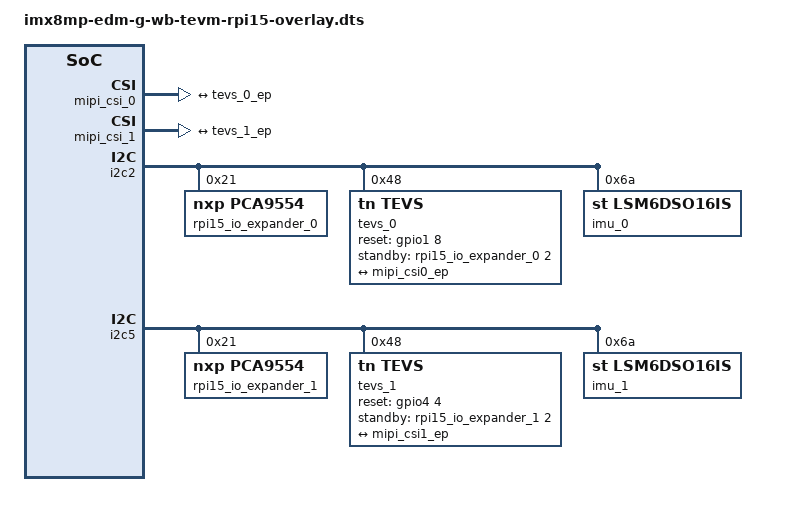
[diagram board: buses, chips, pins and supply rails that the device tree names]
// SPDX-License-Identifier: (GPL-2.0+ OR MIT)
/*
 * Copyright 2026 TechNexion Ltd.
 *
 * Author: Nian Yang <nian.yang@technexion.com>
 *
 */

/dts-v1/;
/plugin/;

#include <dt-bindings/interrupt-controller/irq.h>
#include <dt-bindings/clock/imx8mp-clock.h>
#include <dt-bindings/gpio/gpio.h>

/ {
	fragment@0 {
		target = <&mipi_csi_0>;
		__overlay__ {
			#address-cells = <1>;
			#size-cells = <0>;
			status = "okay";

			port@0 {
				reg = <0>;
				mipi_csi0_ep: endpoint {
					remote-endpoint = <&tevs_0_ep>;
					data-lanes = <2>;
					csis-hs-settle = <19>;
					csis-clk-settle = <2>;
					csis-wclk;
				};
			};
		};
	};

	fragment@1 {
		target = <&mipi_csi_1>;
		__overlay__ {
			#address-cells = <1>;
			#size-cells = <0>;
			status = "okay";

			port@1 {
				reg = <1>;
				mipi_csi1_ep: endpoint {
					remote-endpoint = <&tevs_1_ep>;
					data-lanes = <2>;
					csis-hs-settle = <19>;
					csis-clk-settle = <2>;
					csis-wclk;
				};
			};
		};
	};

	fragment@2 {
		target = <&i2c2>;
		__overlay__ {
			#address-cells = <1>;
			#size-cells = <0>;

			/delete-node/pca9555_a21;

			rpi15_io_expander_0: pca9554@21 {
				compatible = "nxp,pca9554";
				reg = <0x21>;
				gpio-controller;
				#gpio-cells = <2>;
				gpio-line-names = "EXPOSURE_TRIG_IN",
								  "FLASH_OUT",
								  "STANDBY",
								  "SHUTTER",
								  "FRAME_SYNC",
								  "PWR_TIME0",
								  "PWR_TIME1",
								  "PWR_TIME2";
				status = "okay";
			};

			tevs_0: tevs@48 {
				compatible = "tn,tevs";
				reg = <0x48>;
				status = "okay";

				pinctrl-names = "default";
				pinctrl-0 = <&pinctrl_csi0_pwn>, <&pinctrl_csi0_rst>;
				reset-gpios = <&gpio1 8 GPIO_ACTIVE_HIGH>;
				standby-gpios = <&rpi15_io_expander_0 2 GPIO_ACTIVE_HIGH>;

				port {
					tevs_0_ep: endpoint {
						remote-endpoint = <&mipi_csi0_ep>;
						data-lanes = <1 2>;
						clock-lanes = <0>;
						clock-noncontinuous;
						link-frequencies = /bits/ 64 <400000000>;
					};
				};
			};

			imu_0: lsm6dsm@6a {
				compatible = "st,lsm6dso16is";
				reg = <0x6a>;
			};
		};
	};

	fragment@3 {
		target = <&i2c5>;
		__overlay__ {
			#address-cells = <1>;
			#size-cells = <0>;

			rpi15_io_expander_1: pca9554@21 {
				compatible = "nxp,pca9554";
				reg = <0x21>;
				gpio-controller;
				#gpio-cells = <2>;
				gpio-line-names = "EXPOSURE_TRIG_IN",
								  "FLASH_OUT",
								  "STANDBY",
								  "SHUTTER",
								  "FRAME_SYNC",
								  "PWR_TIME0",
								  "PWR_TIME1",
								  "PWR_TIME2";
				status = "okay";
			};

			tevs_1: tevs@48 {
				compatible = "tn,tevs";
				reg = <0x48>;
				status = "okay";

				pinctrl-names = "default";
				pinctrl-0 = <&pinctrl_csi1_pwn>, <&pinctrl_csi1_rst>;
				reset-gpios = <&gpio4 4 GPIO_ACTIVE_HIGH>;
				standby-gpios = <&rpi15_io_expander_1 2 GPIO_ACTIVE_HIGH>;

				port {
					tevs_1_ep: endpoint {
						remote-endpoint = <&mipi_csi1_ep>;
						data-lanes = <1 2>;
						clock-lanes = <0>;
						clock-noncontinuous;
						link-frequencies = /bits/ 64 <400000000>;
					};
				};
			};

			imu_1: lsm6dsm@6a {
				compatible = "st,lsm6dso16is";
				reg = <0x6a>;
			};
		};
	};
};
